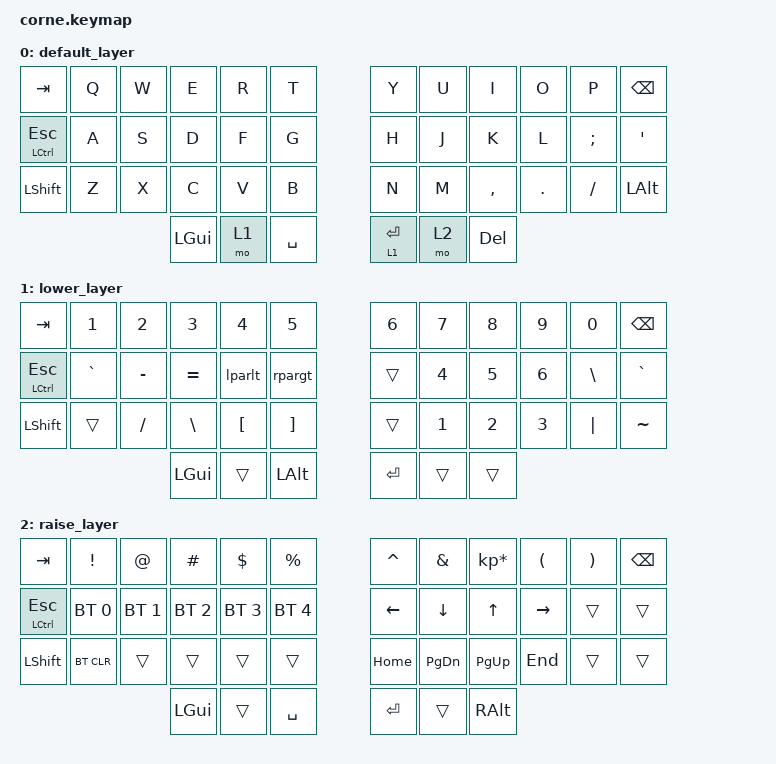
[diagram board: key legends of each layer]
/*
 * Copyright (c) 2020 The ZMK Contributors
 *
 * SPDX-License-Identifier: MIT
 */

#include <behaviors.dtsi>
#include <dt-bindings/zmk/keys.h>
#include <dt-bindings/zmk/bt.h>

/ {
    behaviors {
        lparlt: left_paren_lt {
            compatible = "zmk,behavior-mod-morph";
            label = "LEFT_PAREN_LT";
            #binding-cells = <0>;
            bindings = <&kp LPAR>, <&kp LT>;
            mods = <(MOD_LSFT|MOD_RSFT)>;
        };
    };
};

/ {
    behaviors {
        rpargt: right_paren_gt {
            compatible = "zmk,behavior-mod-morph";
            label = "RIGHT_PAREN_GT";
            #binding-cells = <0>;
            bindings = <&kp RPAR>, <&kp GT>;
            mods = <(MOD_LSFT|MOD_RSFT)>;
        };
    };
};

/ {
        keymap {
                compatible = "zmk,keymap";

                default_layer {
// -----------------------------------------------------------------------------------------
// |  TAB       |  Q  |  W  |  E  |  R  |  T  |   |  Y  |  U   |  I  |  O  |  P  | BKSP |
// | CTRL / ESC |  A  |  S  |  D  |  F  |  G  |   |  H  |  J   |  K  |  L  |  ;  |  '   |
// | SHFT       |  Z  |  X  |  C  |  V  |  B  |   |  N  |  M   |  ,  |  .  |  /  | ALT  |
//                          | GUI | LWR | SPC |   | ENT | RSE  | DEL |
                        bindings = <
   &kp TAB       &kp Q &kp W &kp E &kp R &kp T   &kp Y &kp U  &kp I     &kp O   &kp P    &kp BSPC
   &mt LCTRL ESC &kp A &kp S &kp D &kp F &kp G   &kp H &kp J  &kp K     &kp L   &kp SEMI &kp SQT
   &kp LSHFT     &kp Z &kp X &kp C &kp V &kp B   &kp N &kp M  &kp COMMA &kp DOT &kp FSLH &kp LALT
                 &kp LGUI &mo 1 &kp SPACE        &lt 1 RET &mo 2 &kp DEL
                        >;
                };

                lower_layer {
// -----------------------------------------------------------------------------------------
// |  TAB       |  1  |  2  |  3  |  4  |  5  |   |  6  |  7  |  8  |  9  |  0  | BKSP |
// | CTRL / ESC |  `  |  -  |  =  |  (  |  )  |   |     |  4  |  5  |  6  |  \  |  `   |
// | SHFT       |     |  /  |  \  |  [  |  ]  |   |     |  1  |  2  |  3  | "|" |  ~   |
//                          | GUI |     | ALT |   | ENT |     |     |
                        bindings = <
   &kp TAB       &kp N1    &kp N2    &kp N3    &kp N4           &kp N5            &kp N6    &kp N7   &kp N8 &kp N9    &kp N0 &kp BSPC
   &mt LCTRL ESC &kp GRAVE &kp MINUS &kp EQUAL &lparlt          &rpargt           &trans    &kp N4   &kp N5 &kp N6    &kp BSLH &kp GRAVE
   &kp LSHFT     &trans    &kp SLASH &kp BSLH  &kp LEFT_BRACKET &kp RIGHT_BRACKET &trans    &kp N1   &kp N2 &kp N3    &kp PIPE &kp TILDE
                                     &kp LGUI  &trans           &kp LALT          &kp RET   &trans   &trans
                        >;
                };

                raise_layer {
// -----------------------------------------------------------------------------------------
// |  TAB       |  !  |  @  |  #  |  $  |  %  |   |  ^  |  &  |  *  |  (  |  )  | BKSP |
// | CTRL / ESC | BT1 | BT2 | BT3 | BT4 | BT5 |   | LFT | DWN |  UP | RGT |     |      |
// | SHFT       |     |     |     |     |     |   |     |     |     |     |     |      |
//                          | GUI |     | SPC |   | ENT |     | ALT |
                        bindings = <
   &kp  TAB      &kp EXCL     &kp AT       &kp HASH     &kp DLLR     &kp PRCNT      &kp CARET &kp AMPS  &kp KP_MULTIPLY &kp LPAR  &kp RPAR &kp BSPC
   &mt LCTRL ESC &bt BT_SEL 0 &bt BT_SEL 1 &bt BT_SEL 2 &bt BT_SEL 3 &bt BT_SEL 4   &kp LEFT  &kp DOWN  &kp UP          &kp RIGHT &trans   &trans
   &kp LSHFT     &bt BT_CLR   &trans       &trans       &trans       &trans         &kp HOME  &kp PG_DN &kp PG_UP       &kp END   &trans   &trans
                          	               &kp LGUI     &trans       &kp SPACE      &kp RET   &trans    &kp RALT
                        >;
                };
        };
};
